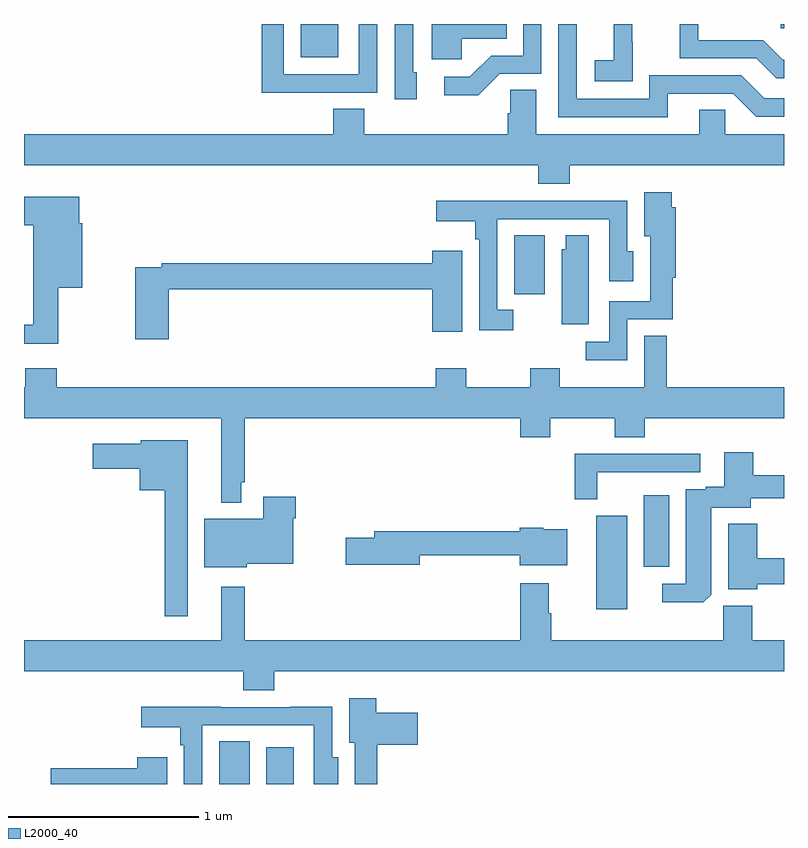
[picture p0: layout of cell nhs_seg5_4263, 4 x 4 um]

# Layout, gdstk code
import gdstk
lib = gdstk.Library(unit=1e-6, precision=1e-09)
def R(c, l, rs):  # rectangles x0, y0, x1, y1
    for r in rs: c.add(gdstk.rectangle(r[:2], r[2:], *l))
def P(c, l, *ps):  # polygons
    for p in ps: c.add(gdstk.Polygon(p, *l))
L2000_40 = (2000, 40)

nhs_seg5_4263 = lib.new_cell('nhs_seg5_4263')
R(nhs_seg5_4263, L2000_40, [(362.027,890.799,362.188,891.023), (362.276,890.799,362.419,890.992), (364.013,891.72,364.174,892.21), (364.262,891.942,364.396,892.318), (363.581,893.376,363.742,893.687), (362.456,894.623,362.653,894.799), (364.983,894.777,365,894.799)])
P(nhs_seg5_4263, L2000_40, [(363.504,894.537),(363.723,894.537),(363.723,894.799),(363.627,894.799),(363.627,894.633),(363.458,894.633),(363.347,894.522),(363.213,894.522),(363.213,894.425),(363.391,894.425)],
  [(365,894.61),(364.994,894.61),(364.89,894.714),(364.548,894.714),(364.548,894.799),(364.45,894.799),(364.45,894.618),(364.853,894.618),(364.958,894.513),(365,894.513)],
  [(364.203,894.703),(364.202,894.703),(364.202,894.799),(364.103,894.799),(364.103,894.607),(364.005,894.607),(364.005,894.497),(364.203,894.497)],
  [(364.387,894.432),(364.734,894.432),(364.854,894.312),(365,894.312),(365,894.408),(364.896,894.408),(364.776,894.528),(364.29,894.528),(364.29,894.405),(363.909,894.405),(363.909,894.799),(363.813,894.799),(363.813,894.309),(364.387,894.309)],
  [(363.303,894.722),(363.542,894.722),(363.542,894.799),(363.146,894.799),(363.146,894.614),(363.303,894.614)],
  [(362.543,894.438),(362.859,894.438),(362.859,894.799),(362.763,894.799),(362.763,894.534),(362.367,894.534),(362.367,894.799),(362.251,894.799),(362.251,894.437),(362.543,894.437)],
  [(363.067,894.546),(363.048,894.546),(363.048,894.799),(362.952,894.799),(362.952,894.402),(363.067,894.402)],
  [(363.872,894.056),(365,894.056),(365,894.22),(364.692,894.22),(364.692,894.347),(364.553,894.347),(364.553,894.22),(363.697,894.22),(363.697,894.452),(363.558,894.452),(363.558,894.329),(363.545,894.329),(363.545,894.22),(362.792,894.22),(362.792,894.353),(362.627,894.353),(362.627,894.22),(361,894.22),(361,894.056),(363.707,894.056),(363.707,893.957),(363.872,893.957)],
  [(364.176,893.244),(364.414,893.244),(364.414,893.463),(364.43,893.463),(364.43,893.835),(364.409,893.835),(364.409,893.914),(364.265,893.914),(364.265,893.681),(364.295,893.681),(364.295,893.34),(364.08,893.34),(364.08,893.127),(363.957,893.127),(363.957,893.03),(364.176,893.03)],
  [(361.179,893.411),(361.306,893.411),(361.306,893.751),(361.291,893.751),(361.291,893.89),(361,893.89),(361,893.741),(361.049,893.741),(361.049,893.217),(361,893.217),(361,893.117),(361.179,893.117)],
  [(363.574,893.295),(363.492,893.295),(363.492,893.772),(364.08,893.772),(364.08,893.445),(364.207,893.445),(364.207,893.604),(364.176,893.604),(364.176,893.87),(363.955,893.87),(363.955,893.868),(363.589,893.868),(363.589,893.87),(363.171,893.87),(363.171,893.762),(363.376,893.762),(363.376,893.666),(363.396,893.666),(363.396,893.187),(363.574,893.187)],
  [(363.973,893.687),(363.851,893.687),(363.851,893.613),(363.83,893.613),(363.83,893.22),(363.973,893.22)],
  [(361.763,893.404),(363.149,893.404),(363.149,893.178),(363.307,893.178),(363.307,893.605),(363.149,893.605),(363.149,893.54),(361.726,893.54),(361.726,893.52),(361.585,893.52),(361.585,893.139),(361.763,893.139)],
  [(362.143,892.387),(362.161,892.387),(362.161,892.724),(363.611,892.724),(363.611,892.625),(363.771,892.625),(363.771,892.724),(364.108,892.724),(364.108,892.625),(364.268,892.625),(364.268,892.724),(365,892.724),(365,892.888),(364.384,892.888),(364.384,893.159),(364.265,893.159),(364.265,892.888),(363.819,892.888),(363.819,892.987),(363.664,892.987),(363.664,892.888),(363.327,892.888),(363.327,892.987),(363.167,892.987),(363.167,892.888),(361.172,892.888),(361.172,892.987),(361.007,892.987),(361.007,892.888),(361,892.888),(361,892.724),(362.039,892.724),(362.039,892.28),(362.143,892.28)],
  [(361.861,892.609),(361.614,892.609),(361.614,892.591),(361.362,892.591),(361.362,892.457),(361.61,892.457),(361.61,892.346),(361.74,892.346),(361.74,891.681),(361.861,891.681)],
  [(364.618,891.796),(364.618,892.254),(364.825,892.254),(364.825,892.302),(365,892.302),(365,892.423),(364.838,892.423),(364.838,892.546),(364.685,892.546),(364.685,892.363),(364.589,892.363),(364.589,892.35),(364.484,892.35),(364.484,891.852),(364.359,891.852),(364.359,891.755),(364.576,891.755)],
  [(364.017,892.44),(364.558,892.44),(364.558,892.536),(363.898,892.536),(363.898,892.299),(364.017,892.299)],
  [(362.172,891.959),(362.416,891.959),(362.416,892.199),(362.429,892.199),(362.429,892.312),(362.258,892.312),(362.258,892.195),(361.949,892.195),(361.949,891.941),(362.172,891.941)],
  [(364.859,891.85),(365,891.85),(365,891.987),(364.859,891.987),(364.859,892.169),(364.706,892.169),(364.706,891.824),(364.859,891.824)],
  [(363.859,892.141),(363.734,892.141),(363.734,892.149),(363.608,892.149),(363.608,892.13),(362.843,892.13),(362.843,892.094),(362.694,892.094),(362.694,891.952),(363.082,891.952),(363.082,892.002),(363.608,892.002),(363.608,891.95),(363.859,891.95)],
  [(362.318,891.392),(365,891.392),(365,891.556),(364.832,891.556),(364.832,891.738),(364.681,891.738),(364.681,891.556),(363.776,891.556),(363.776,891.698),(363.763,891.698),(363.763,891.856),(363.611,891.856),(363.611,891.556),(362.161,891.556),(362.161,891.838),(362.039,891.838),(362.039,891.556),(361,891.556),(361,891.392),(362.153,891.392),(362.153,891.293),(362.318,891.293)],
  [(362.86,891.005),(363.073,891.005),(363.073,891.175),(362.855,891.175),(362.855,891.25),(362.711,891.25),(362.711,891.017),(362.741,891.017),(362.741,890.799),(362.86,890.799)],
  [(361.938,891.108),(362.526,891.108),(362.526,890.799),(362.653,890.799),(362.653,890.94),(362.622,890.94),(362.622,891.206),(362.401,891.206),(362.401,891.204),(362.035,891.204),(362.035,891.206),(361.617,891.206),(361.617,891.098),(361.822,891.098),(361.822,891.002),(361.842,891.002),(361.842,890.799),(361.938,890.799)],
  [(361.753,890.941),(361.595,890.941),(361.595,890.882),(361.14,890.882),(361.14,890.799),(361.753,890.799)])

lib.write_gds('nhs_seg5_4263.gds')
